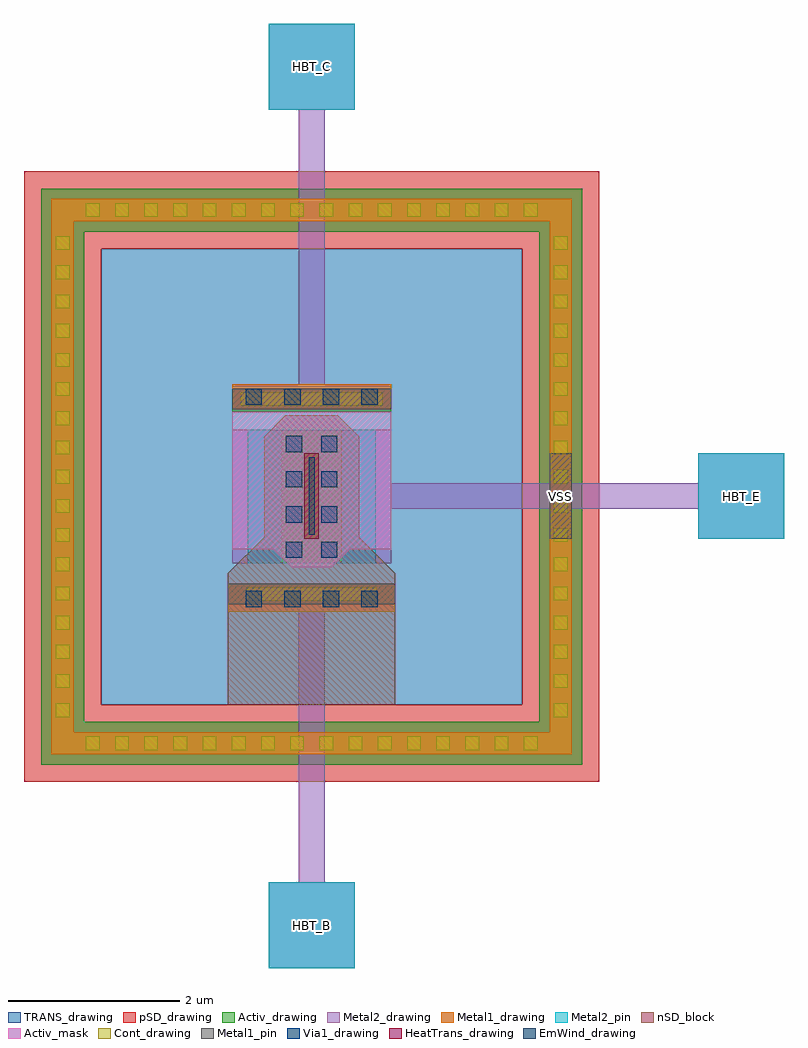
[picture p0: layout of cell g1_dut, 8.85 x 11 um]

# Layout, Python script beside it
#!/usr/bin/env python3
"""G1_DUT layout: one npn13G2 PCell (Nx=1, default emitter 0.07 x 0.90 um) with
Metal2 terminals HBT_E, HBT_B, HBT_C and the PCell's own p+ substrate ring
contacted on Metal1 as VSS.

Run inside the pinned container (KLayout 0.30.9, PDK commit 8437402):
  G1_WORKDIR=designs/g1-guardian/blocks/g1_dut/layout flow/run.sh klayout -b -r g1_dut_layout.py
Writes g1_dut.gds (top cell g1_dut) next to this script.

The PCell geometry used below was read from the instantiated cell (see README):
  C  Metal1 pad  (-0.925..0.925, 1.010..1.250)
  B  Metal1 pad  (-0.975..0.975, -1.260..-1.020)
  E  Metal2 pad  (-0.925..0.925, -0.785..0.770)
  p+ ring Activ  outer (-3.15..3.15, -3.13..3.58), inner (-2.65..2.65, -2.63..3.08)
"""
import sys, os
K = '/foss/pdks/ihp-sg13g2/libs.tech/klayout/python'
for p in [K, K + '/pycell4klayout-api/source/python']:
    sys.path.insert(0, p)
import pya
import sg13g2_pycell_lib  # registers library SG13_dev (technology sg13g2)

lib = pya.Library.library_by_name('SG13_dev', 'sg13g2')
ly = pya.Layout()
ly.dbu = 0.001
L = {n: ly.layer(*v) for n, v in {
    'Activ': (1, 0), 'GatPoly': (5, 0), 'Cont': (6, 0), 'M1': (8, 0), 'M1pin': (8, 2), 'M1txt': (8, 25),
    'M2': (10, 0), 'M2pin': (10, 2), 'M2txt': (10, 25), 'Via1': (19, 0), 'pSD': (14, 0)}.items()}

def um(v):
    return int(round(v * 1000))

def box(cell, layer, x1, y1, x2, y2):
    cell.shapes(L[layer]).insert(pya.Box(um(x1), um(y1), um(x2), um(y2)))

def square(cell, layer, cx, cy, size):
    box(cell, layer, cx - size / 2, cy - size / 2, cx + size / 2, cy + size / 2)

def label(cell, layer, x, y, text):
    t = pya.Text(text, pya.Trans(pya.Point(um(x), um(y))))
    t.size = um(0.2)
    cell.shapes(L[layer]).insert(t)

top = ly.create_cell('g1_dut')

# --- the HBT PCell, Nx = 1 (emitter 0.07 x 0.90 um^2)
pcv = lib.layout().add_pcell_variant(lib.layout().pcell_id('npn13G2'), {'Nx': 1})
hbt = ly.cell(ly.add_lib_cell(lib, pcv))
top.insert(pya.CellInstArray(hbt.cell_index(), pya.Trans()))

# --- contacts and Metal1 on the PCell's p+ substrate ring (ring centre lines x=+-2.90, y=-2.88 / +3.33)
CONT, PITCH = 0.16, 0.34
def cont_row(x1, x2, y):
    n = int((x2 - x1 - CONT) // PITCH) + 1
    x0 = (x1 + x2) / 2 - (n - 1) * PITCH / 2
    for i in range(n):
        square(top, 'Cont', x0 + i * PITCH, y, CONT)
def cont_col(y1, y2, x):
    n = int((y2 - y1 - CONT) // PITCH) + 1
    y0 = (y1 + y2) / 2 - (n - 1) * PITCH / 2
    for i in range(n):
        square(top, 'Cont', x, y0 + i * PITCH, CONT)
xl, xr, yb, yt = -2.90, 2.90, -2.88, 3.33
cont_row(-2.75, 2.75, yb); cont_row(-2.75, 2.75, yt)
cont_col(-2.60, 3.05, xl); cont_col(-2.60, 3.05, xr)
hw = 0.13  # Metal1 ring half-width (0.26 wide: 0.05 enclosure of the 0.16 contact)
box(top, 'M1', xl - hw, yb - hw, xr + hw, yb + hw)
box(top, 'M1', xl - hw, yt - hw, xr + hw, yt + hw)
box(top, 'M1', xl - hw, yb - hw, xl + hw, yt + hw)
box(top, 'M1', xr - hw, yb - hw, xr + hw, yt + hw)
label(top, 'M1txt', xr, 0.0, 'VSS')
box(top, 'M1pin', xr - hw, -0.5, xr + hw, 0.5)

# --- collector: widen the Metal1 pad to 0.29 um so Via1 has 0.05 enclosure, Via1 x4, Metal2 up to a terminal
box(top, 'M1', -0.925, 1.010, 0.925, 1.300)
for cx in (-0.675, -0.225, 0.225, 0.675):
    square(top, 'Via1', cx, 1.155, 0.19)
box(top, 'M2', -0.925, 1.010, 0.925, 1.300)
box(top, 'M2', -0.15, 1.010, 0.15, 4.50)
box(top, 'M2', -0.5, 4.50, 0.5, 5.50); box(top, 'M2pin', -0.5, 4.50, 0.5, 5.50); label(top, 'M2txt', 0, 5.0, 'HBT_C')

# --- base: same, downwards
# (Metal2 pad kept 0.27 um below the emitter Metal2 pad: rule M2.e asks 0.24 um between wide parallel lines)
box(top, 'M1', -0.975, -1.350, 0.975, -1.020)
for cx in (-0.675, -0.225, 0.225, 0.675):
    square(top, 'Via1', cx, -1.200, 0.19)
box(top, 'M2', -0.975, -1.350, 0.975, -1.055)
box(top, 'M2', -0.15, -4.50, 0.15, -1.055)
box(top, 'M2', -0.5, -5.50, 0.5, -4.50); box(top, 'M2pin', -0.5, -5.50, 0.5, -4.50); label(top, 'M2txt', 0, -5.0, 'HBT_B')

# --- emitter: already on Metal2, strip to the right
box(top, 'M2', 0.90, -0.15, 4.50, 0.15)
box(top, 'M2', 4.50, -0.5, 5.50, 0.5); box(top, 'M2pin', 4.50, -0.5, 5.50, 0.5); label(top, 'M2txt', 5.0, 0, 'HBT_E')

out = os.path.join(os.path.dirname(os.path.abspath(__file__)), 'g1_dut.gds')
ly.write(out)
print('wrote', out, 'top bbox', top.dbbox())
